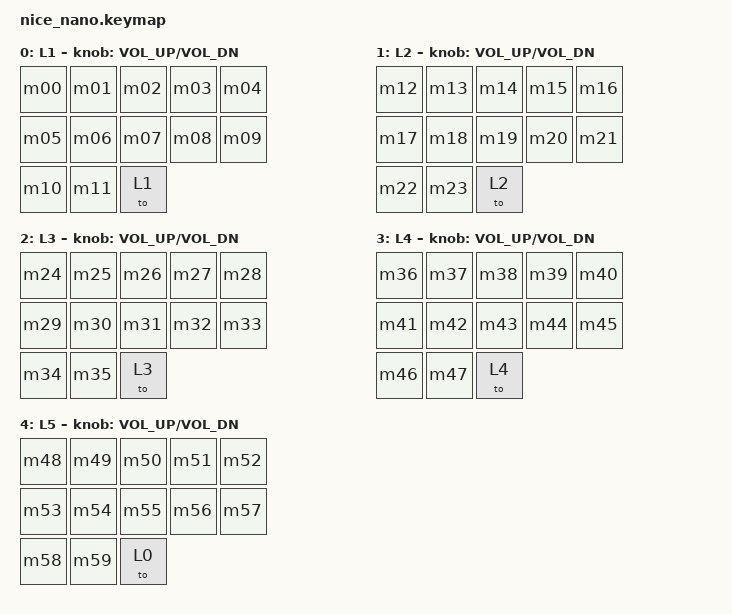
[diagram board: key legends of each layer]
#include <behaviors.dtsi>
#include <dt-bindings/zmk/keys.h>

/ {
    macros {
        /* Layer 1 slots */
        m00: m00 { compatible = "zmk,behavior-macro"; #binding-cells = <0>; bindings = <&kp F1>; };
        m01: m01 { compatible = "zmk,behavior-macro"; #binding-cells = <0>; bindings = <&kp F2>; };
        m02: m02 { compatible = "zmk,behavior-macro"; #binding-cells = <0>; bindings = <&kp F3>; };
        m03: m03 { compatible = "zmk,behavior-macro"; #binding-cells = <0>; bindings = <&kp F4>; };
        m04: m04 { compatible = "zmk,behavior-macro"; #binding-cells = <0>; bindings = <&kp F5>; };
        m05: m05 { compatible = "zmk,behavior-macro"; #binding-cells = <0>; bindings = <&kp F6>; };
        m06: m06 { compatible = "zmk,behavior-macro"; #binding-cells = <0>; bindings = <&kp F7>; };
        m07: m07 { compatible = "zmk,behavior-macro"; #binding-cells = <0>; bindings = <&kp F8>; };
        m08: m08 { compatible = "zmk,behavior-macro"; #binding-cells = <0>; bindings = <&kp F9>; };
        m09: m09 { compatible = "zmk,behavior-macro"; #binding-cells = <0>; bindings = <&kp F10>; };
        m10: m10 { compatible = "zmk,behavior-macro"; #binding-cells = <0>; bindings = <&kp F11>; };
        m11: m11 { compatible = "zmk,behavior-macro"; #binding-cells = <0>; bindings = <&kp F12>; };

        /* Layer 2 slots */
        m12: m12 { compatible = "zmk,behavior-macro"; #binding-cells = <0>; bindings = <&kp N1>; };
        m13: m13 { compatible = "zmk,behavior-macro"; #binding-cells = <0>; bindings = <&kp N2>; };
        m14: m14 { compatible = "zmk,behavior-macro"; #binding-cells = <0>; bindings = <&kp N3>; };
        m15: m15 { compatible = "zmk,behavior-macro"; #binding-cells = <0>; bindings = <&kp N4>; };
        m16: m16 { compatible = "zmk,behavior-macro"; #binding-cells = <0>; bindings = <&kp N5>; };
        m17: m17 { compatible = "zmk,behavior-macro"; #binding-cells = <0>; bindings = <&kp N6>; };
        m18: m18 { compatible = "zmk,behavior-macro"; #binding-cells = <0>; bindings = <&kp N7>; };
        m19: m19 { compatible = "zmk,behavior-macro"; #binding-cells = <0>; bindings = <&kp N8>; };
        m20: m20 { compatible = "zmk,behavior-macro"; #binding-cells = <0>; bindings = <&kp N9>; };
        m21: m21 { compatible = "zmk,behavior-macro"; #binding-cells = <0>; bindings = <&kp N0>; };
        m22: m22 { compatible = "zmk,behavior-macro"; #binding-cells = <0>; bindings = <&kp Q>; };
        m23: m23 { compatible = "zmk,behavior-macro"; #binding-cells = <0>; bindings = <&kp W>; };

        /* Layer 3 slots */
        m24: m24 { compatible = "zmk,behavior-macro"; #binding-cells = <0>; bindings = <&kp A>; };
        m25: m25 { compatible = "zmk,behavior-macro"; #binding-cells = <0>; bindings = <&kp S>; };
        m26: m26 { compatible = "zmk,behavior-macro"; #binding-cells = <0>; bindings = <&kp D>; };
        m27: m27 { compatible = "zmk,behavior-macro"; #binding-cells = <0>; bindings = <&kp F>; };
        m28: m28 { compatible = "zmk,behavior-macro"; #binding-cells = <0>; bindings = <&kp G>; };
        m29: m29 { compatible = "zmk,behavior-macro"; #binding-cells = <0>; bindings = <&kp H>; };
        m30: m30 { compatible = "zmk,behavior-macro"; #binding-cells = <0>; bindings = <&kp J>; };
        m31: m31 { compatible = "zmk,behavior-macro"; #binding-cells = <0>; bindings = <&kp K>; };
        m32: m32 { compatible = "zmk,behavior-macro"; #binding-cells = <0>; bindings = <&kp L>; };
        m33: m33 { compatible = "zmk,behavior-macro"; #binding-cells = <0>; bindings = <&kp SEMI>; };
        m34: m34 { compatible = "zmk,behavior-macro"; #binding-cells = <0>; bindings = <&kp Z>; };
        m35: m35 { compatible = "zmk,behavior-macro"; #binding-cells = <0>; bindings = <&kp X>; };

        /* Layer 4 slots */
        m36: m36 { compatible = "zmk,behavior-macro"; #binding-cells = <0>; bindings = <&kp C>; };
        m37: m37 { compatible = "zmk,behavior-macro"; #binding-cells = <0>; bindings = <&kp V>; };
        m38: m38 { compatible = "zmk,behavior-macro"; #binding-cells = <0>; bindings = <&kp B>; };
        m39: m39 { compatible = "zmk,behavior-macro"; #binding-cells = <0>; bindings = <&kp N>; };
        m40: m40 { compatible = "zmk,behavior-macro"; #binding-cells = <0>; bindings = <&kp M>; };
        m41: m41 { compatible = "zmk,behavior-macro"; #binding-cells = <0>; bindings = <&kp LEFT>; };
        m42: m42 { compatible = "zmk,behavior-macro"; #binding-cells = <0>; bindings = <&kp DOWN>; };
        m43: m43 { compatible = "zmk,behavior-macro"; #binding-cells = <0>; bindings = <&kp UP>; };
        m44: m44 { compatible = "zmk,behavior-macro"; #binding-cells = <0>; bindings = <&kp RIGHT>; };
        m45: m45 { compatible = "zmk,behavior-macro"; #binding-cells = <0>; bindings = <&kp HOME>; };
        m46: m46 { compatible = "zmk,behavior-macro"; #binding-cells = <0>; bindings = <&kp END>; };
        m47: m47 { compatible = "zmk,behavior-macro"; #binding-cells = <0>; bindings = <&kp DEL>; };

        /* Layer 5 slots */
        m48: m48 { compatible = "zmk,behavior-macro"; #binding-cells = <0>; bindings = <&kp C_PREV>; };
        m49: m49 { compatible = "zmk,behavior-macro"; #binding-cells = <0>; bindings = <&kp C_PP>; };
        m50: m50 { compatible = "zmk,behavior-macro"; #binding-cells = <0>; bindings = <&kp C_NEXT>; };
        m51: m51 { compatible = "zmk,behavior-macro"; #binding-cells = <0>; bindings = <&kp C_MUTE>; };
        m52: m52 { compatible = "zmk,behavior-macro"; #binding-cells = <0>; bindings = <&kp C_VOL_DN>; };
        m53: m53 { compatible = "zmk,behavior-macro"; #binding-cells = <0>; bindings = <&kp C_VOL_UP>; };
        m54: m54 { compatible = "zmk,behavior-macro"; #binding-cells = <0>; bindings = <&kp K_COPY>; };
        m55: m55 { compatible = "zmk,behavior-macro"; #binding-cells = <0>; bindings = <&kp K_PASTE>; };
        m56: m56 { compatible = "zmk,behavior-macro"; #binding-cells = <0>; bindings = <&kp K_CUT>; };
        m57: m57 { compatible = "zmk,behavior-macro"; #binding-cells = <0>; bindings = <&kp K_UNDO>; };
        m58: m58 { compatible = "zmk,behavior-macro"; #binding-cells = <0>; bindings = <&kp K_REDO>; };
        m59: m59 { compatible = "zmk,behavior-macro"; #binding-cells = <0>; bindings = <&kp ENTER>; };
    };

    keymap {
        compatible = "zmk,keymap";

        layer0 {
            display-name = "L1";
            bindings = <
                &m00 &m01 &m02 &m03 &m04
                &m05 &m06 &m07 &m08 &m09
                &m10 &m11 &to 1
            >;
            sensor-bindings = <&inc_dec_kp C_VOL_UP C_VOL_DN>;
        };

        layer1 {
            display-name = "L2";
            bindings = <
                &m12 &m13 &m14 &m15 &m16
                &m17 &m18 &m19 &m20 &m21
                &m22 &m23 &to 2
            >;
            sensor-bindings = <&inc_dec_kp C_VOL_UP C_VOL_DN>;
        };

        layer2 {
            display-name = "L3";
            bindings = <
                &m24 &m25 &m26 &m27 &m28
                &m29 &m30 &m31 &m32 &m33
                &m34 &m35 &to 3
            >;
            sensor-bindings = <&inc_dec_kp C_VOL_UP C_VOL_DN>;
        };

        layer3 {
            display-name = "L4";
            bindings = <
                &m36 &m37 &m38 &m39 &m40
                &m41 &m42 &m43 &m44 &m45
                &m46 &m47 &to 4
            >;
            sensor-bindings = <&inc_dec_kp C_VOL_UP C_VOL_DN>;
        };

        layer4 {
            display-name = "L5";
            bindings = <
                &m48 &m49 &m50 &m51 &m52
                &m53 &m54 &m55 &m56 &m57
                &m58 &m59 &to 0
            >;
            sensor-bindings = <&inc_dec_kp C_VOL_UP C_VOL_DN>;
        };
    };
};
